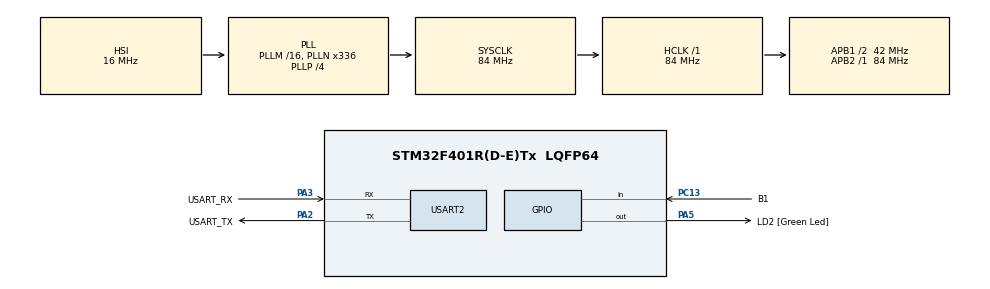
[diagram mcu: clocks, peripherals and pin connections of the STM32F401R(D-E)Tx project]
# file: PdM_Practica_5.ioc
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Mcu.Family=STM32F4
Mcu.Name=STM32F401R(D-E)Tx
Mcu.Package=LQFP64
NVIC.PriorityGroup=NVIC_PRIORITYGROUP_0
PA13.GPIO_Label=TMS
PA13.Mode=Serial_Wire
PA13.Signal=SYS_JTMS-SWDIO
PA14.GPIO_Label=TCK
PA14.Mode=Serial_Wire
PA14.Signal=SYS_JTCK-SWCLK
PA2.GPIO_Label=USART_TX
PA2.GPIO_Mode=GPIO_MODE_AF_PP
PA2.GPIO_PuPd=GPIO_NOPULL
PA2.GPIO_Speed=GPIO_SPEED_FREQ_LOW
PA2.Mode=Asynchronous
PA2.Signal=USART2_TX
PA3.GPIO_Label=USART_RX
PA3.GPIO_Mode=GPIO_MODE_AF_PP
PA3.GPIO_PuPd=GPIO_NOPULL
PA3.GPIO_Speed=GPIO_SPEED_FREQ_LOW
PA3.Mode=Asynchronous
PA3.Signal=USART2_RX
PA5.GPIO_Label=LD2 [Green Led]
PA5.GPIO_Mode=GPIO_MODE_OUTPUT_PP
PA5.GPIO_PuPd=GPIO_NOPULL
PA5.GPIO_Speed=GPIO_SPEED_FREQ_LOW
PA5.PinState=GPIO_PIN_RESET
PA5.Signal=GPIO_Output
PB3.GPIO_Label=SWO
PB3.Signal=SYS_JTDO-SWO
PC13-ANTI_TAMP.GPIO_Label=B1
PC13-ANTI_TAMP.GPIO_PuPd=GPIO_PULLUP
PC13-ANTI_TAMP.Signal=GPIO_Input
PC14-OSC32_IN.Mode=LSE-External-Oscillator
PC14-OSC32_IN.Signal=RCC_OSC32_IN
PC15-OSC32_OUT.Mode=LSE-External-Oscillator
PC15-OSC32_OUT.Signal=RCC_OSC32_OUT
PH0\ -\ OSC_IN.Mode=HSE-External-Clock-Source
PH0\ -\ OSC_IN.Signal=RCC_OSC_IN
PH1\ -\ OSC_OUT.Mode=HSE-External-Clock-Source
PH1\ -\ OSC_OUT.Signal=RCC_OSC_OUT
ProjectManager.HeapSize=0x200
ProjectManager.StackSize=0x400
ProjectManager.TargetToolchain=STM32CubeIDE
RCC.48MHZClocksFreq_Value=48000000
RCC.AHBFreq_Value=84000000
RCC.APB1CLKDivider=RCC_HCLK_DIV2
RCC.APB1Freq_Value=42000000
RCC.APB1TimFreq_Value=84000000
RCC.APB2Freq_Value=84000000
RCC.APB2TimFreq_Value=84000000
RCC.CortexFreq_Value=84000000
RCC.HCLKFreq_Value=84000000
RCC.HSE_VALUE=8000000
RCC.HSI_VALUE=16000000
RCC.PLLN=336
RCC.PLLP=RCC_PLLP_DIV4
RCC.PLLQ=7
RCC.SYSCLKFreq_VALUE=84000000
RCC.SYSCLKSource=RCC_SYSCLKSOURCE_PLLCLK
RCC.VCOOutputFreq_Value=336000000
USART2.VirtualMode=VM_ASYNC
board=NUCLEO-F401RE

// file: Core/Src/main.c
/* USER CODE BEGIN Header */
/**
  ******************************************************************************
  * @file           : main.c
  * @brief          : Main program body
  ******************************************************************************
  * @attention
  *
  * Copyright (c) 2023 STMicroelectronics.
  * All rights reserved.
  *
  * This software is licensed under terms that can be found in the LICENSE file
  * in the root directory of this software component.
  * If no LICENSE file comes with this software, it is provided AS-IS.
  *
  ******************************************************************************
  */
/* USER CODE END Header */
#include "main.h"

/* USER CODE BEGIN Includes */
#include "API_uart.h"
#include "API_debounce.h"
#include "API_delay.h"
#include <stdint.h>

/* USER CODE END Includes */

/* USER CODE BEGIN PM */
#define LED_DURATION 200

/* USER CODE END PM */

UART_HandleTypeDef huart2;

void SystemClock_Config(void);
static void MX_GPIO_Init(void);
static void MX_USART2_UART_Init(void);

/* USER CODE BEGIN 0 */
void B1_pressed(void);
void B1_releaed(void);
/* USER CODE END 0 */

int main(void)
{

  /* MCU Configuration--------------------------------------------------------*/

  /* Reset of all peripherals, Initializes the Flash interface and the Systick. */
  HAL_Init();

  /* Configure the system clock */
  SystemClock_Config();

  /* Initialize all configured peripherals */
  MX_GPIO_Init();
  MX_USART2_UART_Init();
  /* USER CODE BEGIN 2 */

  debounce_t B1Debounce = {
		  .pin = B1_Pin,
		  .port = B1_GPIO_Port,
		  .pressed = B1_pressed,
		  .released = B1_releaed
  };

  delay_t ledDelay;

  delayInit(&ledDelay, LED_DURATION);
  debounceFSM_init(&B1Debounce);
  uartInit();

  /* USER CODE END 2 */

  /* Infinite loop */
  /* USER CODE BEGIN WHILE */
  while (1)
  {

	if(delayRead(&ledDelay)){
		HAL_GPIO_TogglePin(LD2_GPIO_Port, LD2_Pin);
	}

	debounceFSM_update(&B1Debounce);
    /* USER CODE END WHILE */

  }
}

void SystemClock_Config(void)
{
  RCC_OscInitTypeDef RCC_OscInitStruct = {0};
  RCC_ClkInitTypeDef RCC_ClkInitStruct = {0};

  /** Configure the main internal regulator output voltage
  */
  __HAL_RCC_PWR_CLK_ENABLE();
  __HAL_PWR_VOLTAGESCALING_CONFIG(PWR_REGULATOR_VOLTAGE_SCALE2);

  /** Initializes the RCC Oscillators according to the specified parameters
  * in the RCC_OscInitTypeDef structure.
  */
  RCC_OscInitStruct.OscillatorType = RCC_OSCILLATORTYPE_HSI;
  RCC_OscInitStruct.HSIState = RCC_HSI_ON;
  RCC_OscInitStruct.HSICalibrationValue = RCC_HSICALIBRATION_DEFAULT;
  RCC_OscInitStruct.PLL.PLLState = RCC_PLL_ON;
  RCC_OscInitStruct.PLL.PLLSource = RCC_PLLSOURCE_HSI;
  RCC_OscInitStruct.PLL.PLLM = 16;
  RCC_OscInitStruct.PLL.PLLN = 336;
  RCC_OscInitStruct.PLL.PLLP = RCC_PLLP_DIV4;
  RCC_OscInitStruct.PLL.PLLQ = 7;
  if (HAL_RCC_OscConfig(&RCC_OscInitStruct) != HAL_OK)
  {
    Error_Handler();
  }

  /** Initializes the CPU, AHB and APB buses clocks
  */
  RCC_ClkInitStruct.ClockType = RCC_CLOCKTYPE_HCLK|RCC_CLOCKTYPE_SYSCLK
                              |RCC_CLOCKTYPE_PCLK1|RCC_CLOCKTYPE_PCLK2;
  RCC_ClkInitStruct.SYSCLKSource = RCC_SYSCLKSOURCE_PLLCLK;
  RCC_ClkInitStruct.AHBCLKDivider = RCC_SYSCLK_DIV1;
  RCC_ClkInitStruct.APB1CLKDivider = RCC_HCLK_DIV2;
  RCC_ClkInitStruct.APB2CLKDivider = RCC_HCLK_DIV1;

  if (HAL_RCC_ClockConfig(&RCC_ClkInitStruct, FLASH_LATENCY_2) != HAL_OK)
  {
    Error_Handler();
  }
}

static void MX_USART2_UART_Init(void)
{

  huart2.Instance = USART2;
  huart2.Init.BaudRate = 115200;
  huart2.Init.WordLength = UART_WORDLENGTH_8B;
  huart2.Init.StopBits = UART_STOPBITS_1;
  huart2.Init.Parity = UART_PARITY_NONE;
  huart2.Init.Mode = UART_MODE_TX_RX;
  huart2.Init.HwFlowCtl = UART_HWCONTROL_NONE;
  huart2.Init.OverSampling = UART_OVERSAMPLING_16;
  if (HAL_UART_Init(&huart2) != HAL_OK)
  {
    Error_Handler();
  }

}

static void MX_GPIO_Init(void)
{
  GPIO_InitTypeDef GPIO_InitStruct = {0};

  /* GPIO Ports Clock Enable */
  __HAL_RCC_GPIOC_CLK_ENABLE();
  __HAL_RCC_GPIOH_CLK_ENABLE();
  __HAL_RCC_GPIOA_CLK_ENABLE();
  __HAL_RCC_GPIOB_CLK_ENABLE();

  /*Configure GPIO pin Output Level */
  HAL_GPIO_WritePin(LD2_GPIO_Port, LD2_Pin, GPIO_PIN_RESET);

  /*Configure GPIO pin : B1_Pin */
  GPIO_InitStruct.Pin = B1_Pin;
  GPIO_InitStruct.Mode = GPIO_MODE_INPUT;
  GPIO_InitStruct.Pull = GPIO_PULLUP;
  HAL_GPIO_Init(B1_GPIO_Port, &GPIO_InitStruct);

  /*Configure GPIO pin : LD2_Pin */
  GPIO_InitStruct.Pin = LD2_Pin;
  GPIO_InitStruct.Mode = GPIO_MODE_OUTPUT_PP;
  GPIO_InitStruct.Pull = GPIO_NOPULL;
  GPIO_InitStruct.Speed = GPIO_SPEED_FREQ_LOW;
  HAL_GPIO_Init(LD2_GPIO_Port, &GPIO_InitStruct);

}

/* USER CODE BEGIN 4 */
void B1_pressed(void){
	uartSendString((uint8_t*)"Boton oprimido\r\n");
}

void B1_releaed(void){
	uartSendString((uint8_t*)"Boton liberado\r\n");
}
/* USER CODE END 4 */

void Error_Handler(void)
{
  __disable_irq();
  while (1)
  {
  }
}
